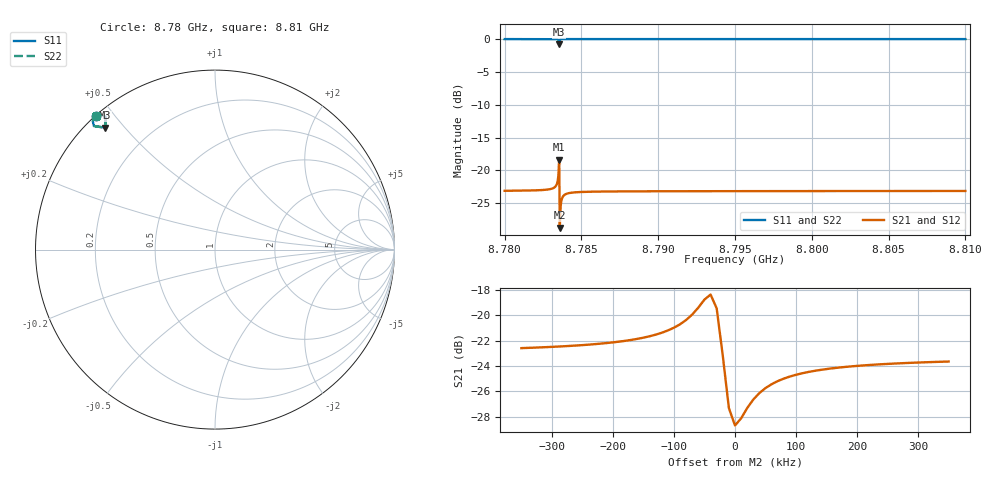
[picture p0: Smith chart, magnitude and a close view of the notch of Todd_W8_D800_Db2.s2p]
! Sonnet Data File
! From: emgraph Version : 16.52
! From Emgraph Data: transmon_brgOdd_brg2
! Data File Written: 11/12/2017 21:14:18
!< HDATE 11/12/2017 20:48:45
!< MDATE 11/12/2017 20:50:55
!< PARAMS
!< Lj = 15.24
!< Gap = 6.0
!< Width = 10.0
!< Pwidth = 2000.0
!< Dist = 800.0
!< Dist2 = 1600.0
!< END PARAMS
# GHZ S MA R 34.67000
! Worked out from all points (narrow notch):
!   3001 points, 8.78 GHz to 8.81 GHz, reference 34.67 ohm
!   highest |S21| = -18.36 dB at 8.78355 GHz (marker M1); lowest = -28.7 dB at 8.78359 GHz (marker M2)
!   notch at M2: 5.6 dB deep, 59 kHz wide at half that depth
!   lowest |S11| = -0.8 dB at 8.78356 GHz (marker M3), VSWR 22.03, Z = 1.88 + j15.4 ohm
!   |S11| at or under -10 dB: nowhere
!   |S22| runs from -0.8 to 0.0 dB; largest |S21 - S12| = 0
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8.78  0.9975 131.8  0.06996 41.8  0.06996 41.8  0.9975 131.8
!< P1 F=8.78 Eeff=(5.13743391 -5.7017e-5) Z0=(34.6430374 -9.7216e-5) R=0.0 C=0.0
!< P2 F=8.78 Eeff=(5.13743391 -5.7017e-5) Z0=(34.6430374 -9.7216e-5) R=0.0 C=0.0
8.78292  0.9974 131.6  0.07189 41.6  0.07189 41.6  0.9974 131.6
8.78327  0.9969 131.5  0.07466 41.2  0.07466 41.2  0.9969 131.5
8.78335  0.9965 131.3  0.07656 41.0  0.07656 41.0  0.9965 131.4
8.78341  0.9958 131.2  0.07928 40.4  0.07928 40.4  0.9958 131.2
8.78342  0.9956 131.2  0.07995 40.3  0.07995 40.3  0.9956 131.2
8.78348  0.9926 130.8  0.08711 38.4  0.08711 38.4  0.9926 130.8
8.78355  0.9327 129.8  0.1208 9.2  0.1208 9.2  0.9333 129.8
8.78356  0.9132 132.0  0.1065 -10.3  0.1065 -10.3  0.914 132.0
8.78359  0.9787 134.0  0.03669 9.6  0.03669 9.6  0.9789 134.0
8.78366  0.9961 132.6  0.05494 40.1  0.05494 40.1  0.9961 132.6
8.78373  0.9973 132.3  0.06084 41.5  0.06084 41.5  0.9973 132.3
8.78377  0.9975 132.2  0.06249 41.7  0.06249 41.7  0.9975 132.2
8.78381  0.9976 132.1  0.06362 41.8  0.06362 41.8  0.9976 132.1
8.78398  0.9977 132.0  0.06603 41.8  0.06603 41.8  0.9977 132.0
8.78433  0.9977 131.9  0.06765 41.8  0.06765 41.8  0.9977 131.9
8.785  0.9976 131.8  0.06856 41.8  0.06856 41.8  0.9976 131.8
8.79  0.9976 131.7  0.06941 41.7  0.06941 41.7  0.9976 131.7
8.795  0.9976 131.7  0.06956 41.7  0.06956 41.7  0.9976 131.7
8.8  0.9976 131.7  0.06964 41.7  0.06964 41.7  0.9976 131.7
8.805  0.9976 131.6  0.06971 41.6  0.06971 41.6  0.9976 131.6
8.81  0.9976 131.6  0.06978 41.6  0.06978 41.6  0.9976 131.6
